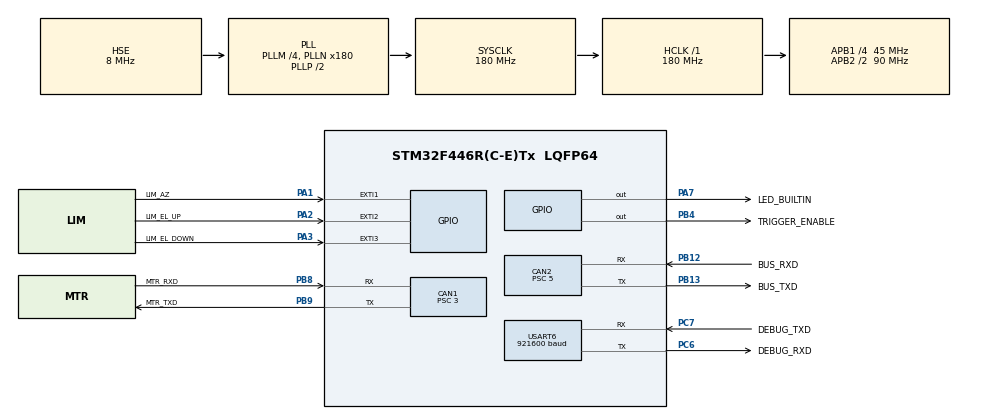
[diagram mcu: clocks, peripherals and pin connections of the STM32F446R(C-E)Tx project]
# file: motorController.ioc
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CAN1.BS1=CAN_BS1_12TQ
CAN1.BS2=CAN_BS2_2TQ
CAN1.CalculateBaudRate=1000000
CAN1.CalculateTimeBit=999.99
CAN1.CalculateTimeQuantum=66.66666666666666
CAN1.Prescaler=3
CAN2.BS1=CAN_BS1_15TQ
CAN2.BS2=CAN_BS2_2TQ
CAN2.CalculateBaudRate=500000
CAN2.CalculateTimeBit=1999.99
CAN2.CalculateTimeQuantum=111.11111111111111
CAN2.Prescaler=5
IWDG.Prescaler=IWDG_PRESCALER_128
IWDG.Reload=250
Mcu.Family=STM32F4
Mcu.Name=STM32F446R(C-E)Tx
Mcu.Package=LQFP64
Mcu.UserConstants=LED_PWM_MAX_VAL,1000;LED_PWM_MIN_VAL,0
NVIC.CAN1_RX0_IRQn=true\:7\:0\:true\:false\:true\:true\:true
NVIC.CAN1_TX_IRQn=true\:6\:0\:true\:false\:true\:true\:true
NVIC.CAN2_RX0_IRQn=true\:10\:0\:true\:false\:true\:true\:true
NVIC.CAN2_RX1_IRQn=true\:11\:0\:true\:false\:true\:true\:true
NVIC.CAN2_TX_IRQn=true\:9\:0\:true\:false\:true\:true\:true
NVIC.PriorityGroup=NVIC_PRIORITYGROUP_4
NVIC.USART6_IRQn=true\:15\:0\:true\:false\:false\:true\:false
PA1.GPIO_Label=LIM_AZ
PA1.GPIO_ModeDefaultEXTI=GPIO_MODE_IT_FALLING
PA1.GPIO_PuPd=GPIO_PULLUP
PA1.Signal=GPXTI1
PA13.GPIO_Label=TMS
PA13.Mode=Serial_Wire
PA13.Signal=SYS_JTMS-SWDIO
PA14.GPIO_Label=TCK
PA14.Mode=Serial_Wire
PA14.Signal=SYS_JTCK-SWCLK
PA2.GPIO_Label=LIM_EL_UP
PA2.GPIO_ModeDefaultEXTI=GPIO_MODE_IT_FALLING
PA2.GPIO_PuPd=GPIO_PULLUP
PA2.Signal=GPXTI2
PA3.GPIO_Label=LIM_EL_DOWN
PA3.GPIO_ModeDefaultEXTI=GPIO_MODE_IT_FALLING
PA3.GPIO_PuPd=GPIO_PULLUP
PA3.Signal=GPXTI3
PA7.GPIO_Label=LED_BUILTIN
PA7.GPIO_Speed=GPIO_SPEED_FREQ_HIGH
PA7.PinState=GPIO_PIN_SET
PA7.Signal=GPIO_Output
PB12.GPIO_Label=BUS_RXD
PB12.Mode=CAN_Activate
PB12.Signal=CAN2_RX
PB13.GPIO_Label=BUS_TXD
PB13.Mode=CAN_Activate
PB13.Signal=CAN2_TX
PB4.GPIO_Label=TRIGGER_ENABLE
PB4.GPIO_PuPd=GPIO_PULLDOWN
PB4.GPIO_Speed=GPIO_SPEED_FREQ_HIGH
PB4.Signal=GPIO_Output
PB8.GPIO_Label=MTR_RXD
PB8.Mode=CAN_Activate
PB8.Signal=CAN1_RX
PB9.GPIO_Label=MTR_TXD
PB9.Mode=CAN_Activate
PB9.Signal=CAN1_TX
PC6.GPIO_Label=DEBUG_RXD
PC6.GPIO_PuPd=GPIO_PULLUP
PC6.Mode=Asynchronous
PC6.Signal=USART6_TX
PC7.GPIO_Label=DEBUG_TXD
PC7.GPIO_PuPd=GPIO_PULLUP
PC7.Mode=Asynchronous
PC7.Signal=USART6_RX
PH0-OSC_IN.Mode=HSE-External-Oscillator
PH0-OSC_IN.Signal=RCC_OSC_IN
PH1-OSC_OUT.Mode=HSE-External-Oscillator
PH1-OSC_OUT.Signal=RCC_OSC_OUT
ProjectManager.HeapSize=0x200
ProjectManager.StackSize=0x400
ProjectManager.TargetToolchain=TrueSTUDIO
RCC.48MHZClocksFreq_Value=84000000
RCC.AHBFreq_Value=180000000
RCC.APB1CLKDivider=RCC_HCLK_DIV4
RCC.APB1Freq_Value=45000000
RCC.APB1TimFreq_Value=90000000
RCC.APB2CLKDivider=RCC_HCLK_DIV2
RCC.APB2Freq_Value=90000000
RCC.APB2TimFreq_Value=180000000
RCC.CortexFreq_Value=180000000
RCC.FLatency-AdvancedSettings=FLASH_LATENCY_5
RCC.HCLKFreq_Value=180000000
RCC.HSE_VALUE=8000000
RCC.HSI_VALUE=16000000
RCC.PLLM=4
RCC.PLLN=180
RCC.PLLSourceVirtual=RCC_PLLSOURCE_HSE
RCC.SYSCLKFreq_VALUE=180000000
RCC.SYSCLKSource=RCC_SYSCLKSOURCE_PLLCLK
RCC.USBFreq_Value=180000000
RCC.VCOOutputFreq_Value=360000000
TIM3.Period=999
TIM3.Prescaler=89
USART6.BaudRate=921600
USART6.VirtualMode=VM_ASYNC
VP_IWDG_VS_IWDG.Mode=IWDG_Activate
VP_TIM3_VS_ClockSourceINT.Mode=Internal
board=NUCLEO-F446RE

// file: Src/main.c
/* USER CODE BEGIN Header */
/**
 ******************************************************************************
 * @file           : main.c
 * @brief          : Main program body
 ******************************************************************************
 * @attention
 *
 * <h2><center>&copy; Copyright (c) 2020 STMicroelectronics.
 * All rights reserved.</center></h2>
 *
 * This software component is licensed by ST under BSD 3-Clause license,
 * the "License"; You may not use this file except in compliance with the
 * License. You may obtain a copy of the License at:
 *                        opensource.org/licenses/BSD-3-Clause
 *
 ******************************************************************************
 */
/* USER CODE END Header */
#include "main.h"

/* USER CODE BEGIN Includes */
#include <stdlib.h>
#include <stdio.h>
#include <string.h>

#include "rwsCanID.h"
#include "stm_hal_serial.h"
#include "Ingenia_CanServoDriver.h"

/* USER CODE END Includes */

/* USER CODE BEGIN PTD */
typedef enum
{
	LIM_SWITCH_AZIMUTH_ZERO = 0,
	LIM_SWITCH_ELEVATION_UP,
	LIM_SWITCH_ELEVATION_DOWN
} LimitSwitchBit_e;

typedef enum
{
	MOVE_STAB_bit = 0,
	MOVE_TRACK_bit = 1
} MoveBit_e;

typedef enum
{
	MOVEMENT_MANUAL = 0,
	MOVEMENT_STABILIZE,
	MOVEMENT_TRACKING
} MovementState_e;

typedef union
{
	float f;
	uint32_t u32;
	int32_t i32;
	uint8_t b[4];
} Union_u;

typedef struct
{
	volatile uint32_t angleVelo[2];
	volatile uint32_t stabMode;
	volatile uint32_t manualCommand;
	volatile uint32_t stabCommand;
	volatile uint32_t trackCommand;
} CanRecvCounter_t;

/* USER CODE END PTD */

/* USER CODE BEGIN PD */
#define DEBUG					1

#if DEBUG==1
#	define DEBUG_MTR_POSVELO	0
#	define DEBUG_INGENIA_DRIVER	0
#	if DEBUG_INGENIA_DRIVER==1
#		define MTR_ID			0x20
#	endif	//if DEBUG_INGENIA_DRIVER==1
#endif	//if DEBUG==1

#define MTR_AZ_ENABLE			1
#define MTR_EL_ENABLE			1
#define MTR_COCK_ENABLE			0

#define MTR_AZ_ID				0x20
#define MTR_EL_ID				0x21
#define MTR_COCK_ID				0x22

#ifdef RING_BUFFER_SIZE
#define UART_BUFSIZE			RING_BUFFER_SIZE
#else
#define UART_BUFSIZE			256
#endif

#ifndef CAN_DATA_MAX
#define CAN_DATA_MAX		8
#endif

#define bitRead(value, bit) (((value) >> (bit)) & 0x01)
#define bitSet(value, bit) ((value) |= (1UL << (bit)))
#define bitClear(value, bit) ((value) &= ~(1UL << (bit)))
#define bitWrite(value, bit, bitvalue) (bitvalue ? bitSet(value, bit) : bitClear(value, bit))

#define MOTOR_MAX_SPEED			116500UL	//1750RPM
#define MOTOR_MAX_ACCEL			2500000UL

#define TPDO4_EVENT_TIMER_100HZ			10

#define MOTOR_UPDATE_TIMEOUT			10	//100HZ

/* USER CODE END PD */

CAN_HandleTypeDef hcan1;
CAN_HandleTypeDef hcan2;

IWDG_HandleTypeDef hiwdg;

TIM_HandleTypeDef htim3;

UART_HandleTypeDef huart6;

/* USER CODE BEGIN PV */
/* TODO Global Variables*/
uint16_t bufLen = 0;
char buf[UART_BUFSIZE];

#if DEBUG
Ring_Buffer_t tx6Buffer = { { 0 }, 0, 0 };
Ring_Buffer_t rx6Buffer = { { 0 }, 0, 0 };
TSerial debug = { &rx6Buffer, &tx6Buffer, &huart6 };
#endif	//if DEBUG

#if DEBUG==1
char vt100_home[10];
#define DEBUG_LINE_MAX		25
char vt100_lineX[DEBUG_LINE_MAX][16];
#endif	//if DEBUG==1

CAN_TxHeaderTypeDef can2TxHeader;
uint32_t can2TxMailBox;
uint8_t can2TxBuffer[8];
CAN_RxHeaderTypeDef can2RxHeader;
uint8_t can2RxBuffer[8];

CAN_TxHeaderTypeDef *busTxHeader;
uint32_t *busTxMailBox;
uint8_t *busTxBuffer;
CAN_RxHeaderTypeDef *busRxHeader;
uint8_t *busRxBuffer;

#if DEBUG_INGENIA_DRIVER==1
Servo_t mtr;
Servo_t dummy;
#endif	//if DEBUG_INGENIA_DRIVER==1

#if MTR_AZ_ENABLE==1
Servo_t mtrAzi;
#endif	//if MTR_AZ_ENABLE==1

#if MTR_EL_ENABLE==1
Servo_t mtrEle;
#endif	//if MTR_EL_ENABLE==1

#if MTR_COCK_ENABLE==1
servo_t mtrCock;
#endif	//if MTR_COCK_ENABLE==1

volatile uint8_t limitSwitch = 0;

int32_t manualCommand[2] = { 0, 0 };
int32_t stabCommand[2] = { 0, 0 };
int32_t trackCommand[2] = { 0, 0 };
int32_t *panCommand = &manualCommand[0], *tiltCommand = &manualCommand[1];
volatile bool cockStart = false;

typedef enum
{
	SERVO_PAN,
	SERVO_TILT
} EServoName;

typedef enum
{
	DIR_UP_RIGHT = false,
	DIR_DOWN_LEFT = true
} EServoDirection;

typedef struct
{
	EServoName name;
	volatile bool enable;
	Servo_t *servo;
	uint32_t prevSpeed;
	bool direction;
	float relPosition;
	float velo;
} TServoState;
TServoState pan;
TServoState tilt;

#define CAN_BUFSIZE							8
const uint32_t COMMAND_RECEIVE_TIMEOUT = 500;

typedef struct
{
	uint32_t id;
	volatile bool state;
	uint8_t data[8];
	uint8_t size;
	uint8_t online;
} TCanRecvBuffer;

typedef struct
{
	uint32_t id;
	uint8_t data[8];
	uint8_t size;
} TCanSendBuffer;

TCanRecvBuffer canRecvPanel = { CAN_ID_RWS_PNL_MTR, false, { 0 }, 8, 0 };
TCanRecvBuffer canRecvButton = { CAN_ID_RWS_BUTTON, false, { 0 }, 3, 0 };
TCanRecvBuffer canRecvMoveMode = { CAN_ID_RWS_PNL_STAB_MODE, false, { 0 }, 6, 0 };
TCanRecvBuffer canRecvStabCommand = { CAN_ID_RWS_STAB_MTR_STB, false, { 0 }, 8, 0 };
TCanRecvBuffer canRecvTrackCommand = { CAN_ID_RWS_STAB_MTR_TRK, false, { 0 }, 8, 0 };

TCanSendBuffer canSendMotor = { CAN_ID_RWS_MOTOR, { 0 }, 6 };
TCanSendBuffer canSendMotorAngle = { CAN_ID_RWS_MTR_STAB_ANGLE, { 0 }, 8 };
TCanSendBuffer canSendMotorSpeed = { CAN_ID_RWS_MTR_STAB_SPD, { 0 }, 8 };

#if DEBUG_MTR_POSVELO==1
volatile uint32_t countTPDO4 = 0;
#endif	//if DEBUG_MTR_POSVELO==1
CanRecvCounter_t crCounter = { { 0, 0 }, 0, 0, 0, 0 };
uint8_t moveState = MOVEMENT_MANUAL;

/* USER CODE END PV */

void SystemClock_Config(void);
static void MX_GPIO_Init(void);
static void MX_CAN1_Init(void);
static void MX_CAN2_Init(void);
static void MX_IWDG_Init(void);
static void MX_USART6_UART_Init(void);
static void MX_TIM3_Init(void);
/* USER CODE BEGIN PFP */
#if DEBUG_INGENIA_DRIVER==1
static void displayCanBuffer(CAN_Data_t *data);
static void debugMotor();
#endif	//if DEBUG_INGENIA_DRIVER==1

static HAL_StatusTypeDef motorInit();
static void motorStop(TServoState *motor);
static void motorSpeed(TServoState *motor, int32_t spd);
static void motorHandler();

static HAL_StatusTypeDef busInit();
static void manualCommandParsing();
static void stabCommandParsing();
static void trackCommandParsing();
static void busHandler(CAN_HandleTypeDef *bus);
static void busSendingHandler();
static void busExpirationHandler();
/* USER CODE END PFP */

int main(void)
{

	/* MCU Configuration--------------------------------------------------------*/

	/* Reset of all peripherals, Initializes the Flash interface and the Systick. */
	HAL_Init();

	/* Configure the system clock */
	SystemClock_Config();

	/* USER CODE BEGIN SysInit */
#if DEBUG==1
	sprintf(vt100_home, "\x1b[2J\x1b[H");
	unsigned char debugLine = 0;
	for ( debugLine = 0; debugLine < DEBUG_LINE_MAX; debugLine++ )
		sprintf(vt100_lineX[debugLine], "\x1b[%d;0H\x1b[2K", debugLine);
#endif	//if DEBUG==1
	/* USER CODE END SysInit */

	/* Initialize all configured peripherals */
	MX_GPIO_Init();
	MX_CAN1_Init();
	MX_CAN2_Init();
	MX_IWDG_Init();
	MX_USART6_UART_Init();
	MX_TIM3_Init();
	/* USER CODE BEGIN 2 */
	HAL_IWDG_Refresh(&hiwdg);

#if DEBUG==1
	serial_init(&debug);

	bufLen = sprintf(buf, "%sIngenia CAN library\r\n", vt100_home);
	serial_write_str(&debug, buf, bufLen);
#endif	//if DEBUG==1

#if DEBUG==1
	bufLen = sprintf(buf, "motor init...\r\n");
	serial_write_str(&debug, buf, bufLen);
#endif	//if DEBUG==1

	if (motorInit() != HAL_OK) {
		HAL_GPIO_WritePin(LED_BUILTIN_GPIO_Port, LED_BUILTIN_Pin, GPIO_PIN_RESET);
		while (1)
			;
	}
#if DEBUG==1
	bufLen = sprintf(buf, "done!\r\n");
	serial_write_str(&debug, buf, bufLen);

	bufLen = sprintf(buf, "bus init...");
	serial_write_str(&debug, buf, bufLen);
#endif	//if DEBUG==1

	if (busInit() != HAL_OK) {
		HAL_GPIO_WritePin(LED_BUILTIN_GPIO_Port, LED_BUILTIN_Pin, GPIO_PIN_RESET);
		while (1)
			;
	}

#if DEBUG==1
	bufLen = sprintf(buf, "done!\r\n");
	serial_write_str(&debug, buf, bufLen);
#endif	//if DEBUG==1

#if DEBUG_INGENIA_DRIVER==1
	debugMotor();
#endif	//if DEBUG_INGENIA_DRIVER==1

	/* USER CODE END 2 */

	/* Infinite loop */
	/* USER CODE BEGIN WHILE */
#if DEBUG_MTR_POSVELO==1
	uint32_t countTpdoTimer = 0;
	Union_u p, v;
#endif	//if DEBUG_INGENIA_DRIVER==1

#if DEBUG==1
	uint32_t dTimer = 0;
#endif	//if DEBUG==1

	while (1) {
		HAL_IWDG_Refresh(&hiwdg);
		/* USER CODE END WHILE */

		/* USER CODE BEGIN 3 */
		/* TODO BEGIN LOOP*/

		busExpirationHandler();
		motorHandler();
		busSendingHandler();

#if DEBUG==1
		if (HAL_GetTick() >= dTimer) {
			dTimer = HAL_GetTick() + 100;

			bufLen = sprintf(buf, "%s0x%02X st=%d;en=%d:%d\t%d:%d", vt100_lineX[8],
					canRecvMoveMode.data[0], moveState, pan.enable, tilt.enable, *panCommand,
					*tiltCommand);
			serial_write_str(&debug, buf, bufLen);
		}
#endif	//if DEBUG==1

#if DEBUG_MTR_POSVELO==1
		uint8_t _dataRpdo[8];
		if (HAL_GetTick() >= countTpdoTimer) {
			countTpdoTimer = HAL_GetTick() + 1000;

			bufLen = sprintf(buf, "%stpdo4= %d/s", vt100_lineX[11], countTPDO4);
			countTPDO4 = 0;
			serial_write_str(&debug, buf, bufLen);
		}

		if (serial_available(&debug)) {
			char c = serial_read(&debug);

			if (c == 'T') {
				bufLen = sprintf(buf, "%smotor enable\r\n", vt100_lineX[12]);
				serial_write_str(&debug, buf, bufLen);
				_dataRpdo[0] = 0xF;
				_dataRpdo[1] = 0;
				Ingenia_write_rpdo(tilt.servo, COB_RPDO1, _dataRpdo, 2);
			}
			if (c == 't') {
				bufLen = sprintf(buf, "%smotor disable\r\n", vt100_lineX[12]);
				serial_write_str(&debug, buf, bufLen);
				_dataRpdo[0] = 0x7;
				_dataRpdo[1] = 0;
				Ingenia_write_rpdo(tilt.servo, COB_RPDO1, _dataRpdo, 2);
			}
			else if (c == 's') {
				memset(_dataRpdo, 0, 8);
				v.u32 = 0x500;
				p.i32 = 4000;
				for ( int i = 0; i < 4; i++ ) {
					_dataRpdo[i] = v.b[i];
					_dataRpdo[i + 4] = p.b[i];
				}
				Ingenia_write_rpdo(tilt.servo, COB_RPDO2, _dataRpdo, 8);
				bufLen = sprintf(buf, "%sSet new V:0x500 P:4000c", vt100_lineX[12]);
				serial_write_str(&debug, buf, bufLen);
			}
			else if (c == '>') {
				p.i32 = tilt.servo->posActual + 4000;
				Ingenia_setTargetPositionVelocity(tilt.servo, p.i32, 0x500, 1, 0, 0);
				bufLen = sprintf(buf, "%sto %dc w/ 500c/s", vt100_lineX[12], p.i32);
				serial_write_str(&debug, buf, bufLen);
			}
			else if (c == '<') {
				p.i32 = tilt.servo->posActual - 4000;
				Ingenia_setTargetPositionVelocity(tilt.servo, p.i32, 0x500, 1, 0, 0);
				bufLen = sprintf(buf, "%sto %dc w/ 500c/s", vt100_lineX[12], p.i32);
				serial_write_str(&debug, buf, bufLen);
			}
			else if (c == '0') {
				Ingenia_setTargetPositionVelocity(tilt.servo, 0, 0, 1, 0, 1);
				bufLen = sprintf(buf, "%sMotor Stop!", vt100_lineX[12], p.i32);
				serial_write_str(&debug, buf, bufLen);
			}

		}
#endif	//if DEBUG_MTR_POSVELO==1

		/* TODO END LOOP*/
	}	//while(1){
	/* USER CODE END 3 */
}

void SystemClock_Config(void)
{
	RCC_OscInitTypeDef RCC_OscInitStruct = { 0 };
	RCC_ClkInitTypeDef RCC_ClkInitStruct = { 0 };

	/** Configure the main internal regulator output voltage
	 */
	__HAL_RCC_PWR_CLK_ENABLE()
	;
	__HAL_PWR_VOLTAGESCALING_CONFIG(PWR_REGULATOR_VOLTAGE_SCALE1);
	/** Initializes the RCC Oscillators according to the specified parameters
	 * in the RCC_OscInitTypeDef structure.
	 */
	RCC_OscInitStruct.OscillatorType = RCC_OSCILLATORTYPE_LSI | RCC_OSCILLATORTYPE_HSE;
	RCC_OscInitStruct.HSEState = RCC_HSE_ON;
	RCC_OscInitStruct.LSIState = RCC_LSI_ON;
	RCC_OscInitStruct.PLL.PLLState = RCC_PLL_ON;
	RCC_OscInitStruct.PLL.PLLSource = RCC_PLLSOURCE_HSE;
	RCC_OscInitStruct.PLL.PLLM = 4;
	RCC_OscInitStruct.PLL.PLLN = 180;
	RCC_OscInitStruct.PLL.PLLP = RCC_PLLP_DIV2;
	RCC_OscInitStruct.PLL.PLLQ = 2;
	RCC_OscInitStruct.PLL.PLLR = 2;
	if (HAL_RCC_OscConfig(&RCC_OscInitStruct) != HAL_OK) {
		Error_Handler();
	}
	/** Activate the Over-Drive mode
	 */
	if (HAL_PWREx_EnableOverDrive() != HAL_OK) {
		Error_Handler();
	}
	/** Initializes the CPU, AHB and APB buses clocks
	 */
	RCC_ClkInitStruct.ClockType = RCC_CLOCKTYPE_HCLK | RCC_CLOCKTYPE_SYSCLK | RCC_CLOCKTYPE_PCLK1
			| RCC_CLOCKTYPE_PCLK2;
	RCC_ClkInitStruct.SYSCLKSource = RCC_SYSCLKSOURCE_PLLCLK;
	RCC_ClkInitStruct.AHBCLKDivider = RCC_SYSCLK_DIV1;
	RCC_ClkInitStruct.APB1CLKDivider = RCC_HCLK_DIV4;
	RCC_ClkInitStruct.APB2CLKDivider = RCC_HCLK_DIV2;

	if (HAL_RCC_ClockConfig(&RCC_ClkInitStruct, FLASH_LATENCY_5) != HAL_OK) {
		Error_Handler();
	}
}

static void MX_CAN1_Init(void)
{

	hcan1.Instance = CAN1;
	hcan1.Init.Prescaler = 3;
	hcan1.Init.Mode = CAN_MODE_NORMAL;
	hcan1.Init.SyncJumpWidth = CAN_SJW_1TQ;
	hcan1.Init.TimeSeg1 = CAN_BS1_12TQ;
	hcan1.Init.TimeSeg2 = CAN_BS2_2TQ;
	hcan1.Init.TimeTriggeredMode = DISABLE;
	hcan1.Init.AutoBusOff = DISABLE;
	hcan1.Init.AutoWakeUp = DISABLE;
	hcan1.Init.AutoRetransmission = DISABLE;
	hcan1.Init.ReceiveFifoLocked = DISABLE;
	hcan1.Init.TransmitFifoPriority = DISABLE;
	if (HAL_CAN_Init(&hcan1) != HAL_OK) {
		Error_Handler();
	}

}

static void MX_CAN2_Init(void)
{

	hcan2.Instance = CAN2;
	hcan2.Init.Prescaler = 5;
	hcan2.Init.Mode = CAN_MODE_NORMAL;
	hcan2.Init.SyncJumpWidth = CAN_SJW_1TQ;
	hcan2.Init.TimeSeg1 = CAN_BS1_15TQ;
	hcan2.Init.TimeSeg2 = CAN_BS2_2TQ;
	hcan2.Init.TimeTriggeredMode = DISABLE;
	hcan2.Init.AutoBusOff = DISABLE;
	hcan2.Init.AutoWakeUp = DISABLE;
	hcan2.Init.AutoRetransmission = DISABLE;
	hcan2.Init.ReceiveFifoLocked = DISABLE;
	hcan2.Init.TransmitFifoPriority = DISABLE;
	if (HAL_CAN_Init(&hcan2) != HAL_OK) {
		Error_Handler();
	}

}

static void MX_IWDG_Init(void)
{

	hiwdg.Instance = IWDG;
	hiwdg.Init.Prescaler = IWDG_PRESCALER_128;
	hiwdg.Init.Reload = 250;
	if (HAL_IWDG_Init(&hiwdg) != HAL_OK) {
		Error_Handler();
	}

}

static void MX_TIM3_Init(void)
{

	TIM_ClockConfigTypeDef sClockSourceConfig = { 0 };
	TIM_MasterConfigTypeDef sMasterConfig = { 0 };

	htim3.Instance = TIM3;
	htim3.Init.Prescaler = 89;
	htim3.Init.CounterMode = TIM_COUNTERMODE_UP;
	htim3.Init.Period = 999;
	htim3.Init.ClockDivision = TIM_CLOCKDIVISION_DIV1;
	htim3.Init.AutoReloadPreload = TIM_AUTORELOAD_PRELOAD_DISABLE;
	if (HAL_TIM_Base_Init(&htim3) != HAL_OK) {
		Error_Handler();
	}
	sClockSourceConfig.ClockSource = TIM_CLOCKSOURCE_INTERNAL;
	if (HAL_TIM_ConfigClockSource(&htim3, &sClockSourceConfig) != HAL_OK) {
		Error_Handler();
	}
	sMasterConfig.MasterOutputTrigger = TIM_TRGO_RESET;
	sMasterConfig.MasterSlaveMode = TIM_MASTERSLAVEMODE_DISABLE;
	if (HAL_TIMEx_MasterConfigSynchronization(&htim3, &sMasterConfig) != HAL_OK) {
		Error_Handler();
	}

}

static void MX_USART6_UART_Init(void)
{

	huart6.Instance = USART6;
	huart6.Init.BaudRate = 921600;
	huart6.Init.WordLength = UART_WORDLENGTH_8B;
	huart6.Init.StopBits = UART_STOPBITS_1;
	huart6.Init.Parity = UART_PARITY_NONE;
	huart6.Init.Mode = UART_MODE_TX_RX;
	huart6.Init.HwFlowCtl = UART_HWCONTROL_NONE;
	huart6.Init.OverSampling = UART_OVERSAMPLING_16;
	if (HAL_UART_Init(&huart6) != HAL_OK) {
		Error_Handler();
	}

}

static void MX_GPIO_Init(void)
{
	GPIO_InitTypeDef GPIO_InitStruct = { 0 };

	/* GPIO Ports Clock Enable */
	__HAL_RCC_GPIOC_CLK_ENABLE()
	;
	__HAL_RCC_GPIOH_CLK_ENABLE()
	;
	__HAL_RCC_GPIOA_CLK_ENABLE()
	;
	__HAL_RCC_GPIOB_CLK_ENABLE()
	;
	__HAL_RCC_GPIOD_CLK_ENABLE()
	;

	/*Configure GPIO pin Output Level */
	HAL_GPIO_WritePin(LED_BUILTIN_GPIO_Port, LED_BUILTIN_Pin, GPIO_PIN_SET);

	/*Configure GPIO pin Output Level */
	HAL_GPIO_WritePin(TRIGGER_ENABLE_GPIO_Port, TRIGGER_ENABLE_Pin, GPIO_PIN_RESET);

	/*Configure GPIO pins : PC13 PC14 PC15 PC0
	 PC1 PC2 PC3 PC4
	 PC5 PC8 PC9 PC10
	 PC11 PC12 */
	GPIO_InitStruct.Pin = GPIO_PIN_13 | GPIO_PIN_14 | GPIO_PIN_15 | GPIO_PIN_0 | GPIO_PIN_1
			| GPIO_PIN_2 | GPIO_PIN_3 | GPIO_PIN_4 | GPIO_PIN_5 | GPIO_PIN_8 | GPIO_PIN_9
			| GPIO_PIN_10 | GPIO_PIN_11 | GPIO_PIN_12;
	GPIO_InitStruct.Mode = GPIO_MODE_ANALOG;
	GPIO_InitStruct.Pull = GPIO_NOPULL;
	HAL_GPIO_Init(GPIOC, &GPIO_InitStruct);

	/*Configure GPIO pins : PA0 PA4 PA5 PA6
	 PA8 PA9 PA10 PA11
	 PA12 PA15 */
	GPIO_InitStruct.Pin = GPIO_PIN_0 | GPIO_PIN_4 | GPIO_PIN_5 | GPIO_PIN_6 | GPIO_PIN_8
			| GPIO_PIN_9 | GPIO_PIN_10 | GPIO_PIN_11 | GPIO_PIN_12 | GPIO_PIN_15;
	GPIO_InitStruct.Mode = GPIO_MODE_ANALOG;
	GPIO_InitStruct.Pull = GPIO_NOPULL;
	HAL_GPIO_Init(GPIOA, &GPIO_InitStruct);

	/*Configure GPIO pins : LIM_AZ_Pin LIM_EL_UP_Pin LIM_EL_DOWN_Pin */
	GPIO_InitStruct.Pin = LIM_AZ_Pin | LIM_EL_UP_Pin | LIM_EL_DOWN_Pin;
	GPIO_InitStruct.Mode = GPIO_MODE_IT_FALLING;
	GPIO_InitStruct.Pull = GPIO_PULLUP;
	HAL_GPIO_Init(GPIOA, &GPIO_InitStruct);

	/*Configure GPIO pin : LED_BUILTIN_Pin */
	GPIO_InitStruct.Pin = LED_BUILTIN_Pin;
	GPIO_InitStruct.Mode = GPIO_MODE_OUTPUT_PP;
	GPIO_InitStruct.Pull = GPIO_NOPULL;
	GPIO_InitStruct.Speed = GPIO_SPEED_FREQ_HIGH;
	HAL_GPIO_Init(LED_BUILTIN_GPIO_Port, &GPIO_InitStruct);

	/*Configure GPIO pins : PB0 PB1 PB2 PB10
	 PB14 PB15 PB3 PB5
	 PB6 PB7 */
	GPIO_InitStruct.Pin = GPIO_PIN_0 | GPIO_PIN_1 | GPIO_PIN_2 | GPIO_PIN_10 | GPIO_PIN_14
			| GPIO_PIN_15 | GPIO_PIN_3 | GPIO_PIN_5 | GPIO_PIN_6 | GPIO_PIN_7;
	GPIO_InitStruct.Mode = GPIO_MODE_ANALOG;
	GPIO_InitStruct.Pull = GPIO_NOPULL;
	HAL_GPIO_Init(GPIOB, &GPIO_InitStruct);

	/*Configure GPIO pin : PD2 */
	GPIO_InitStruct.Pin = GPIO_PIN_2;
	GPIO_InitStruct.Mode = GPIO_MODE_ANALOG;
	GPIO_InitStruct.Pull = GPIO_NOPULL;
	HAL_GPIO_Init(GPIOD, &GPIO_InitStruct);

	/*Configure GPIO pin : TRIGGER_ENABLE_Pin */
	GPIO_InitStruct.Pin = TRIGGER_ENABLE_Pin;
	GPIO_InitStruct.Mode = GPIO_MODE_OUTPUT_PP;
	GPIO_InitStruct.Pull = GPIO_PULLDOWN;
	GPIO_InitStruct.Speed = GPIO_SPEED_FREQ_HIGH;
	HAL_GPIO_Init(TRIGGER_ENABLE_GPIO_Port, &GPIO_InitStruct);

}

/* USER CODE BEGIN 4 */
/* TODO Begin of Functions Declaration*/
#if DEBUG==1
void USART6_IRQHandler(void)
{
	USARTx_IRQHandler(&debug);
}
#endif	//if DEBUG==1

void EXTI1_IRQHandler(void)
{
	/* limit azimuth zero active */
	SET_BIT(limitSwitch, (1 << LIM_SWITCH_AZIMUTH_ZERO));
}

void EXTI2_IRQHandler(void)
{
	/* limit elevation UP active */
	SET_BIT(limitSwitch, (1 << LIM_SWITCH_ELEVATION_UP));

	/* check elevation's direction */
	/* stop when direction is UP */
}

void EXTI3_IRQHandler(void)
{
	/* limit elevation DOWN active */
	SET_BIT(limitSwitch, (1 << LIM_SWITCH_ELEVATION_DOWN));

	/* check elevation's direction */
	/* stop when direction is UP */
}

static void initMovementState()
{
	manualCommand[0] = manualCommand[1] = 0;
	stabCommand[0] = stabCommand[1] = 0;
	trackCommand[0] = trackCommand[1] = 0;

	if (moveState == MOVEMENT_STABILIZE) {
		panCommand = &stabCommand[0];
		tiltCommand = &stabCommand[1];
	}
	else if (moveState == MOVEMENT_TRACKING) {
		panCommand = &trackCommand[0];
		tiltCommand = &trackCommand[1];
	}
	else {
		panCommand = &manualCommand[0];
		tiltCommand = &manualCommand[1];
	}
}

static void busExpirationHandler()
{
	static uint32_t buttonCommandTimeout = 0;
	static uint32_t movementModeTimeout = 0;
	uint8_t mStateTemp;

	/* check TRIGGER command */
	if (HAL_GetTick() >= buttonCommandTimeout) {
		HAL_GPIO_WritePin(TRIGGER_ENABLE_GPIO_Port, TRIGGER_ENABLE_Pin, GPIO_PIN_RESET);
		canRecvButton.online = false;
	}

	if (canRecvButton.state) {
		canRecvButton.state = false;
		buttonCommandTimeout = HAL_GetTick() + COMMAND_RECEIVE_TIMEOUT;
		canRecvButton.online = true;

		HAL_GPIO_WritePin(TRIGGER_ENABLE_GPIO_Port, TRIGGER_ENABLE_Pin,
				bitRead(canRecvButton.data[0], 0));

		cockStart = bitRead(canRecvButton.data[0], 1);
	}

	/* check stab command */
	if (HAL_GetTick() >= movementModeTimeout && canRecvPanel.online) {
		canRecvPanel.online = false;
	}

	if (canRecvPanel.state) {
		canRecvPanel.state = false;
		if (moveState == MOVEMENT_MANUAL) {
			movementModeTimeout = HAL_GetTick() + COMMAND_RECEIVE_TIMEOUT;
			canRecvPanel.online = true;

			manualCommandParsing();
		}
		else
			manualCommand[0] = manualCommand[1] = 0;
	}

	/* check stab command */
	if (HAL_GetTick() >= movementModeTimeout && canRecvStabCommand.online) {
		canRecvStabCommand.online = false;
	}

	if (canRecvStabCommand.state) {
		canRecvStabCommand.state = false;
		if (moveState == MOVEMENT_STABILIZE) {
			movementModeTimeout = HAL_GetTick() + COMMAND_RECEIVE_TIMEOUT;
			canRecvStabCommand.online = true;

			stabCommandParsing();
		}
		else
			stabCommand[0] = stabCommand[1] = 0;
	}

	/* check track command */
	if (HAL_GetTick() >= movementModeTimeout && canRecvTrackCommand.online) {
		canRecvTrackCommand.online = false;
	}

	if (canRecvTrackCommand.state) {
		canRecvTrackCommand.state = false;
		if (moveState == MOVEMENT_TRACKING) {
			movementModeTimeout = HAL_GetTick() + COMMAND_RECEIVE_TIMEOUT;
			canRecvTrackCommand.online = true;

			trackCommandParsing();
		}
		else
			trackCommand[0] = trackCommand[1] = 0;
	}

	if (canRecvMoveMode.online) {
		/* check movement mode command (from panel) */
		if (HAL_GetTick() >= movementModeTimeout) {
			HAL_GPIO_WritePin(LED_BUILTIN_GPIO_Port, LED_BUILTIN_Pin, GPIO_PIN_RESET);
			canRecvMoveMode.online = false;
		}

		/* check motor enable command */
		pan.enable = tilt.enable = bitRead(canRecvMoveMode.data[0], 7);

		if (moveState == MOVEMENT_STABILIZE) {
			if (!canRecvStabCommand.online)
				pan.enable = tilt.enable = false;
		}
		else if (moveState == MOVEMENT_TRACKING) {
			if (!canRecvTrackCommand.online)
				pan.enable = tilt.enable = false;
		}
	}
	else {
		pan.enable = false;
		tilt.enable = false;
	}

	if (canRecvMoveMode.state) {
		canRecvMoveMode.state = false;
		movementModeTimeout = HAL_GetTick() + COMMAND_RECEIVE_TIMEOUT;
		canRecvMoveMode.online = true;

		if (bitRead(canRecvMoveMode.data[0], MOVE_TRACK_bit))
			mStateTemp = MOVEMENT_TRACKING;
		else if (bitRead(canRecvMoveMode.data[0], MOVE_STAB_bit))
			mStateTemp = MOVEMENT_STABILIZE;
		else
			mStateTemp = MOVEMENT_MANUAL;

		if (moveState != mStateTemp) {
			moveState = mStateTemp;
			initMovementState();
		}

		HAL_GPIO_TogglePin(LED_BUILTIN_GPIO_Port, LED_BUILTIN_Pin);
	}

}

static void busSendingHandler()
{
	static uint32_t _stateTimer = 1000;
	static uint32_t _angleTimer = 1000;
	static uint32_t _angularSpeedTimer = 1000;
	static uint32_t sumAngleVeloTimer = 0;

	if (HAL_GetTick() >= sumAngleVeloTimer) {
		sumAngleVeloTimer = HAL_GetTick() + 1000;

		canSendMotor.data[2] = crCounter.angleVelo[0] & 0xFF;
		canSendMotor.data[3] = (crCounter.angleVelo[0] >> 8) & 0xFF;
		canSendMotor.data[4] = crCounter.angleVelo[1] & 0xFF;
		canSendMotor.data[5] = (crCounter.angleVelo[1] >> 8) & 0xFF;

		bufLen = sprintf(buf, "%sMval=%d\t\tM(p:t)=%d:%d", vt100_lineX[14],
				(int) crCounter.manualCommand, (int) manualCommand[0], (int) manualCommand[1]);
		serial_write_str(&debug, buf, bufLen);

		bufLen = sprintf(buf, "%sSmode:Sval=%d:%d\tS(p:t)=%d:%d", vt100_lineX[15],
				(int) crCounter.stabMode, (int) crCounter.stabCommand, (int) stabCommand[0],
				(int) stabCommand[1]);
		serial_write_str(&debug, buf, bufLen);

		bufLen = sprintf(buf, "%sTval=%d\tT(p:t)=%d:%d", vt100_lineX[16],
				(int) crCounter.trackCommand, (int) trackCommand[0], (int) trackCommand[1]);
		serial_write_str(&debug, buf, bufLen);

		crCounter.angleVelo[0] = crCounter.angleVelo[1] = 0;
		crCounter.stabMode = crCounter.stabCommand = 0;
	}

	if (HAL_GetTick() >= _stateTimer) {
		_stateTimer = HAL_GetTick() + 100;

		bitWrite(canSendMotor.data[1], 0,
				HAL_GPIO_ReadPin(TRIGGER_ENABLE_GPIO_Port, TRIGGER_ENABLE_Pin));
		bitWrite(canSendMotor.data[1], 1, cockStart);

		busTxHeader->StdId = canSendMotor.id;
		memcpy(busTxBuffer, canSendMotor.data, canSendMotor.size);
		busTxHeader->DLC = canSendMotor.size;
		if (HAL_CAN_AddTxMessage(&hcan2, busTxHeader, busTxBuffer, busTxMailBox) != HAL_OK)
			_stateTimer = HAL_GetTick() + 10;

#if DEBUG==1
		Union_u u, w;

		u.f = C_TO_DEG_AZ(pan.servo->posActual);
		w.f = C_TO_DEG_AZ(pan.servo->veloActual);
		bufLen = sprintf(buf, "%sPAN: P= %d > %.3f\tV= %d > %.3f", vt100_lineX[9],
				(int) pan.servo->posActual, u.f, (int) pan.servo->veloActual, w.f);
		serial_write_str(&debug, buf, bufLen);

		u.f = C_TO_DEG_EL(tilt.servo->posActual);
		w.f = C_TO_DEG_EL(tilt.servo->veloActual);
		bufLen = sprintf(buf, "%sTILT: P= %d > %.3f\tV= %d > %.3f", vt100_lineX[10],
				(int) tilt.servo->posActual, u.f, (int) tilt.servo->veloActual, w.f);
		serial_write_str(&debug, buf, bufLen);
#endif	//if DEBUG==1

	}

	if (HAL_GetTick() >= _angleTimer) {
		_angleTimer = HAL_GetTick() + TPDO4_EVENT_TIMER_100HZ;

		Union_u pAz, pEl;
#if MTR_AZ_ENABLE==1
		pAz.f = pan.relPosition;
#else
		pAz.f = 0.0f;
#endif	//if MTR_AZ_ENABLE==1

#if MTR_EL_ENABLE==1
		pEl.f = tilt.relPosition;
#else
		pEl.f = 0.0f;
#endif	//if MTR_EL_ENABLE==1

		for ( int i = 0; i < 4; i++ ) {
			canSendMotorAngle.data[i] = pAz.b[i];
			canSendMotorAngle.data[i + 4] = pEl.b[i];
		}

		busTxHeader->StdId = canSendMotorAngle.id;
		memcpy(busTxBuffer, canSendMotorAngle.data, canSendMotorAngle.size);
		busTxHeader->DLC = canSendMotorAngle.size;
		if (HAL_CAN_AddTxMessage(&hcan2, busTxHeader, busTxBuffer, busTxMailBox) != HAL_OK)
			_angleTimer = HAL_GetTick() + 1;
	}

	if (HAL_GetTick() >= _angularSpeedTimer) {
		_angularSpeedTimer = HAL_GetTick() + TPDO4_EVENT_TIMER_100HZ;

		Union_u vAz, vEl;
#if MTR_AZ_ENABLE==1
		vAz.f = pan.velo;
#else
		vAz.f = 0.0f;
#endif	//if MTR_AZ_ENABLE==1

#if MTR_EL_ENABLE==1
		vEl.f = tilt.velo;
#else
		vEl.f = 0.0f;
#endif	//if MTR_EL_ENABLE==1

		for ( int i = 0; i < 4; i++ ) {
			canSendMotorSpeed.data[i] = vAz.b[i];
			canSendMotorSpeed.data[i + 4] = vEl.b[i];
		}

		busTxHeader->StdId = canSendMotorSpeed.id;
		memcpy(busTxBuffer, canSendMotorSpeed.data, canSendMotorSpeed.size);
		busTxHeader->DLC = canSendMotorSpeed.size;
		if (HAL_CAN_AddTxMessage(&hcan2, busTxHeader, busTxBuffer, busTxMailBox) != HAL_OK)
			_angleTimer = HAL_GetTick() + 1;
	}
}

static void trackCommandParsing()
{
	Union_u p, t;
	uint8_t dataPT[8];

	memcpy(dataPT, canRecvTrackCommand.data, canRecvTrackCommand.size);

	/* find angular velocity request from stabilize module */
	for ( int i = 0; i < 4; i++ ) {
		p.b[i] = dataPT[i];
		t.b[i] = dataPT[i + 4];
	}

	/* convert from deg/s to c/s */
	trackCommand[0] = (int32_t) DEG_TO_C_AZ(p.f);
	if (abs(trackCommand[0]) > MOTOR_MAX_SPEED) {
		if (trackCommand[0] >= 0)
			trackCommand[0] = MOTOR_MAX_SPEED;
		else
			trackCommand[0] = 0 - MOTOR_MAX_SPEED;
	}
	trackCommand[1] = (int32_t) DEG_TO_C_EL(t.f);
	if (abs(trackCommand[1]) > MOTOR_MAX_SPEED) {
		if (trackCommand[1] >= 0)
			trackCommand[1] = MOTOR_MAX_SPEED;
		else
			trackCommand[1] = 0 - MOTOR_MAX_SPEED;
	}
}

static void stabCommandParsing()
{
	Union_u p, t;
	uint8_t dataPT[8];

	memcpy(dataPT, canRecvStabCommand.data, canRecvStabCommand.size);

	/* find angular velocity request from stabilize module */
	for ( int i = 0; i < 4; i++ ) {
		p.b[i] = dataPT[i];
		t.b[i] = dataPT[i + 4];
	}

	/* convert from deg/s to c/s */
	stabCommand[0] = (int32_t) DEG_TO_C_AZ(p.f);
	if (abs(stabCommand[0]) > MOTOR_MAX_SPEED) {
		if (stabCommand[0] >= 0)
			stabCommand[0] = MOTOR_MAX_SPEED;
		else
			stabCommand[0] = 0 - MOTOR_MAX_SPEED;
	}
	stabCommand[1] = (int32_t) DEG_TO_C_EL(t.f);
	if (abs(stabCommand[1]) > MOTOR_MAX_SPEED) {
		if (stabCommand[1] >= 0)
			stabCommand[1] = MOTOR_MAX_SPEED;
		else
			stabCommand[1] = 0 - MOTOR_MAX_SPEED;
	}
}

static void manualCommandParsing()
{
	Union_u p, t;
	uint8_t dataPT[8];

	memcpy(dataPT, canRecvPanel.data, canRecvPanel.size);

	/* find angular velocity request from stabilize module */
	for ( int i = 0; i < 4; i++ ) {
		p.b[i] = dataPT[i];
		t.b[i] = dataPT[i + 4];
	}

	/* convert from deg/s to c/s */
	manualCommand[0] = (int32_t) DEG_TO_C_AZ(p.f);
	if (abs(manualCommand[0]) > MOTOR_MAX_SPEED) {
		if (manualCommand[0] >= 0)
			manualCommand[0] = MOTOR_MAX_SPEED;
		else
			manualCommand[0] = 0 - MOTOR_MAX_SPEED;
	}
	manualCommand[1] = (int32_t) DEG_TO_C_EL(t.f);
	if (abs(manualCommand[1]) > MOTOR_MAX_SPEED) {
		if (manualCommand[1] >= 0)
			manualCommand[1] = MOTOR_MAX_SPEED;
		else
			manualCommand[1] = 0 - MOTOR_MAX_SPEED;
	}
}

static void motorStop(TServoState *motor)
{
	Ingenia_setTargetPositionVelocity(motor->servo, 0, 0, 1, 0, 1);
}

static void motorSpeed(TServoState *motor, int32_t spd)
{
	int _pos = motor->servo->posActual;
	uint32_t _absSpd = abs(spd);

	if (spd == 0)
		motorStop(motor);
	else {
		if (spd < 0)
			_pos -= 50000;
		else
			_pos += 50000;

		Ingenia_setTargetPositionVelocity(motor->servo, _pos, _absSpd, 1, 0, 0);
	}

	motor->prevSpeed = spd;
}

static void motorHandler()
{
	static uint32_t motorUpdateTimer = 0;
	static uint8_t motorUpdateCounter = 0;

	/* ENABLE/DISABLE MOTOR */
#if MTR_AZ_ENABLE==1
	static _Bool panEnable = 1;

	if (panEnable != pan.enable) {
		if (pan.enable) {
			/* enable motor */
			Ingenia_enableMotor(pan.servo);
		}
		else {
			/* disable motor */
			Ingenia_disableMotor(pan.servo);
		}
		panEnable = pan.enable;
		bitWrite(canSendMotor.data[0], 0, panEnable);
	}
#endif	//if MTR_AZ_ENABLE==1

#if MTR_EL_ENABLE==1
	static _Bool tiltEnable = 1;

	if (tiltEnable != tilt.enable) {
		if (tilt.enable) {
			/* enable motor */
			Ingenia_enableMotor(tilt.servo);
		}
		else {
			/* disable motor */
			Ingenia_disableMotor(tilt.servo);
		}
		tiltEnable = tilt.enable;
		bitWrite(canSendMotor.data[0], 1, tiltEnable);
	}
#endif	//if MTR_EL_ENABLE==1

	/* send command to motor driver */

	if (HAL_GetTick() >= motorUpdateTimer) {
		motorUpdateTimer = HAL_GetTick() + (MOTOR_UPDATE_TIMEOUT / 2);

#if MTR_AZ_ENABLE==1
		if (panEnable && !bitRead(motorUpdateCounter, 0))
			motorSpeed(&pan, *panCommand);
#endif	//if MTR_AZ_ENABLE==1

#if MTR_EL_ENABLE==1
		if (tiltEnable && bitRead(motorUpdateCounter, 0))
			motorSpeed(&tilt, *tiltCommand);
#endif	//if MTR_EL_ENABLE==1

		motorUpdateCounter++;
	}
}

static void motorParamInit(Servo_t *servo)
{

	Ingenia_write_nmt(servo, NMT_START_REMOTE_NODE);

	/* set mode to profile position */
	Ingenia_setModeOfOperation(servo, DRIVE_MODE_PROFILE_POSITION);

	/* set max motor speed */
	Ingenia_write_sdo_u32(servo, 0x6080, 0, MOTOR_MAX_SPEED);
	/* set max velocity profile */
	Ingenia_write_sdo_u32(servo, 0x607F, 0, MOTOR_MAX_SPEED);
	/* set max profile acceleration */
	Ingenia_write_sdo_u32(servo, 0x6083, 0, MOTOR_MAX_ACCEL);
	/* set max profile de-acceleration */
	Ingenia_write_sdo_u32(servo, 0x6084, 0, MOTOR_MAX_ACCEL);
	/* set max profile quick stop de-acceleration */
	Ingenia_write_sdo_u32(servo, 0x6085, 0, 2 * MOTOR_MAX_ACCEL);
	/* set TPDO4 event timer */
	Ingenia_write_sdo_u16(servo, 0x1803, 5, TPDO4_EVENT_TIMER_100HZ);
}

static HAL_StatusTypeDef motorInit()
{
	HAL_StatusTypeDef ret = HAL_OK;
	Ingenia_begin(&hcan1);

#if DEBUG_INGENIA_DRIVER==1
	Ingenia_init(&mtr, 0x21);
	Ingenia_init(&dummy, 0x22);
	Ingenia_node_remove(&dummy);

	debugMotor();
#endif	//if DEBUG_INGENIA_DRIVER==1

#if MTR_AZ_ENABLE==1
	pan.name = SERVO_PAN;
	pan.enable = false;
	pan.direction = DIR_UP_RIGHT;
	pan.servo = &mtrAzi;
	pan.prevSpeed = 1;

	if (Ingenia_init(pan.servo, MTR_AZ_ID) != HAL_OK)
		return HAL_ERROR;

#if DEBUG==1
	bufLen = sprintf(buf, "enabling pan motor...");
	serial_write_str(&debug, buf, bufLen);
#endif	//if DEBUG==1

	motorParamInit(pan.servo);
	Ingenia_disableMotor(pan.servo);

#if DEBUG==1
	bufLen = sprintf(buf, "done!\r\n");
	serial_write_str(&debug, buf, bufLen);
#endif	//if DEBUG==1

#endif	//if MTR_AZ_ENABLE==1

#if MTR_EL_ENABLE==1
	tilt.name = SERVO_TILT;
	tilt.enable = false;
	tilt.direction = DIR_UP_RIGHT;
	tilt.servo = &mtrEle;
	tilt.prevSpeed = 1;

	if (Ingenia_init(tilt.servo, MTR_EL_ID) != HAL_OK)
		return HAL_ERROR;

#if DEBUG==1
	bufLen = sprintf(buf, "enabling tilt motor...");
	serial_write_str(&debug, buf, bufLen);
#endif	//if DEBUG==1

	motorParamInit(tilt.servo);
	Ingenia_disableMotor(tilt.servo);

#if DEBUG==1
	bufLen = sprintf(buf, "done!\r\n");
	serial_write_str(&debug, buf, bufLen);
#endif	//if DEBUG==1
#endif	//if MTR_EL_ENABLE==1

#if MTR_COCK_ENABLE==1
	Ingenia_init(cock.servo, MTR_COCK_ID);
#endif	//if MTR_COCK_ENABLE==1

	return ret;
}

static HAL_StatusTypeDef busInit()
{
	busTxHeader = &can2TxHeader;
	busTxMailBox = &can2TxMailBox;
	busTxBuffer = can2TxBuffer;
	busRxHeader = &can2RxHeader;
	busRxBuffer = can2RxBuffer;

	CAN_FilterTypeDef sFilterConfig;

	/*##-2- Configure the CAN Filter ###########################################*/

	sFilterConfig.FilterBank = 14;
	sFilterConfig.FilterMode = CAN_FILTERMODE_IDMASK;
	sFilterConfig.FilterScale = CAN_FILTERSCALE_32BIT;
	sFilterConfig.FilterIdHigh = (canRecvPanel.id << 5);
	sFilterConfig.FilterIdLow = 0;
	sFilterConfig.FilterMaskIdHigh = (canRecvPanel.id << 5);
	sFilterConfig.FilterMaskIdLow = 0;
	sFilterConfig.FilterFIFOAssignment = CAN_RX_FIFO1;
	sFilterConfig.FilterActivation = ENABLE;
	sFilterConfig.SlaveStartFilterBank = 14;

	if (HAL_CAN_ConfigFilter(&hcan2, &sFilterConfig) != HAL_OK) {
		/* filter configuration error */
		return HAL_ERROR;
	}

	sFilterConfig.FilterBank = 15;
	sFilterConfig.FilterMode = CAN_FILTERMODE_IDMASK;
	sFilterConfig.FilterScale = CAN_FILTERSCALE_32BIT;
	sFilterConfig.FilterIdHigh = (canRecvButton.id << 5);
	sFilterConfig.FilterIdLow = 0;
	sFilterConfig.FilterMaskIdHigh = (canRecvButton.id << 5);
	sFilterConfig.FilterMaskIdLow = 0;
	sFilterConfig.FilterFIFOAssignment = CAN_RX_FIFO1;
	sFilterConfig.FilterActivation = ENABLE;
	sFilterConfig.SlaveStartFilterBank = 14;

	if (HAL_CAN_ConfigFilter(&hcan2, &sFilterConfig) != HAL_OK) {
		/* filter configuration error */
		return HAL_ERROR;
	}

	sFilterConfig.FilterBank = 16;
	sFilterConfig.FilterMode = CAN_FILTERMODE_IDMASK;
	sFilterConfig.FilterScale = CAN_FILTERSCALE_32BIT;
	sFilterConfig.FilterIdHigh = (canRecvMoveMode.id << 5);
	sFilterConfig.FilterIdLow = 0;
	sFilterConfig.FilterMaskIdHigh = (canRecvMoveMode.id << 5);
	sFilterConfig.FilterMaskIdLow = 0;
	sFilterConfig.FilterFIFOAssignment = CAN_RX_FIFO1;
	sFilterConfig.FilterActivation = ENABLE;
	sFilterConfig.SlaveStartFilterBank = 14;

	if (HAL_CAN_ConfigFilter(&hcan2, &sFilterConfig) != HAL_OK) {
		/* filter configuration error */
		return HAL_ERROR;
	}

	sFilterConfig.FilterBank = 17;
	sFilterConfig.FilterMode = CAN_FILTERMODE_IDMASK;
	sFilterConfig.FilterScale = CAN_FILTERSCALE_32BIT;
	sFilterConfig.FilterIdHigh = (canRecvStabCommand.id << 5);
	sFilterConfig.FilterIdLow = 0;
	sFilterConfig.FilterMaskIdHigh = (canRecvStabCommand.id << 5);
	sFilterConfig.FilterMaskIdLow = 0;
	sFilterConfig.FilterFIFOAssignment = CAN_RX_FIFO1;
	sFilterConfig.FilterActivation = ENABLE;
	sFilterConfig.SlaveStartFilterBank = 14;

	if (HAL_CAN_ConfigFilter(&hcan2, &sFilterConfig) != HAL_OK) {
		/* filter configuration error */
		return HAL_ERROR;
	}

	sFilterConfig.FilterBank = 18;
	sFilterConfig.FilterMode = CAN_FILTERMODE_IDMASK;
	sFilterConfig.FilterScale = CAN_FILTERSCALE_32BIT;
	sFilterConfig.FilterIdHigh = (canRecvTrackCommand.id << 5);
	sFilterConfig.FilterIdLow = 0;
	sFilterConfig.FilterMaskIdHigh = (canRecvTrackCommand.id << 5);
	sFilterConfig.FilterMaskIdLow = 0;
	sFilterConfig.FilterFIFOAssignment = CAN_RX_FIFO1;
	sFilterConfig.FilterActivation = ENABLE;
	sFilterConfig.SlaveStartFilterBank = 14;

	if (HAL_CAN_ConfigFilter(&hcan2, &sFilterConfig) != HAL_OK) {
		/* filter configuration error */
		return HAL_ERROR;
	}

	/*##-3- Start the CAN peripheral ###########################################*/
	if (HAL_CAN_Start(&hcan2) != HAL_OK) {
		/* Start Error */
		return HAL_ERROR;
	}

	/*##-4- Activate CAN RX notification #######################################*/
	if (HAL_CAN_ActivateNotification(&hcan2, CAN_IT_RX_FIFO1_MSG_PENDING) != HAL_OK) {
		/* Notification Error */
		return HAL_ERROR;
	}

	/*##-5- Configure Transmission process #####################################*/
	busTxHeader->StdId = 0x1;
	busTxHeader->RTR = CAN_RTR_DATA;
	busTxHeader->IDE = CAN_ID_STD;
	busTxHeader->DLC = CAN_DATA_MAX;
	busTxHeader->TransmitGlobalTime = DISABLE;

	return HAL_OK;
}

static void busHandler(CAN_HandleTypeDef *bus)
{
	uint32_t _id = 0;

	if (HAL_CAN_GetRxMessage(bus, CAN_RX_FIFO1, busRxHeader, busRxBuffer) == HAL_OK) {
		_id = busRxHeader->StdId;
		if (_id == canRecvPanel.id) {
			canRecvPanel.state = true;
			memcpy(canRecvPanel.data, busRxBuffer, canRecvPanel.size);
			crCounter.manualCommand++;
		}
		else if (_id == canRecvButton.id) {
			canRecvButton.state = true;
			memcpy(canRecvButton.data, busRxBuffer, canRecvButton.size);
		}
		else if (_id == canRecvMoveMode.id) {
			canRecvMoveMode.state = true;
			memcpy(canRecvMoveMode.data, busRxBuffer, canRecvMoveMode.size);
			crCounter.stabMode++;
		}
		else if (_id == canRecvStabCommand.id) {
			canRecvStabCommand.state = true;
			memcpy(canRecvStabCommand.data, busRxBuffer, canRecvStabCommand.size);
			crCounter.stabCommand++;
		}
		else if (_id == canRecvTrackCommand.id) {
			canRecvTrackCommand.state = true;
			memcpy(canRecvTrackCommand.data, busRxBuffer, canRecvTrackCommand.size);
			crCounter.trackCommand++;
		}
	}
}

/**
 * @brief  Rx Fifo 1 message pending callback
 * @param  hcan: pointer to a CAN_HandleTypeDef structure that contains
 *         the configuration information for the specified CAN.
 * @retval None
 */
void HAL_CAN_RxFifo1MsgPendingCallback(CAN_HandleTypeDef *hcan)
{
	busHandler(hcan);
}

void Ingenia_tpdo_callback(CAN_Buffer_t *buffer)
{
	CAN_Data_t data;
	uint32_t idNode = 0;
	int _pos = 0, _velo = 0;

	if (can_buffer_available(buffer)) {
		can_buffer_read(buffer, &data);
#if DEBUG_MTR_POSVELO==1
		countTPDO4++;
#endif	//if DEBUG_MTR_POSVELO==1

		if ((data.canRxHeader.StdId & COB_TPDO4) == COB_TPDO4) {
			idNode = data.canRxHeader.StdId - COB_TPDO4;
			for ( int i = 0; i < 4; i++ ) {
				_pos |= (int) data.rxData[i] << (8 * i);
				_velo |= (int) data.rxData[i + 4] << (8 * i);
			}
#if MTR_AZ_ENABLE==1
			if (idNode == mtrAzi._u8Node) {
				pan.servo->posActual = _pos;
				pan.servo->veloActual = _velo;

				int32_t _tem = abs(_pos) % C_AZ_FULLSWING;
				if (_pos < 0)
					_tem = C_AZ_FULLSWING - _tem;
				pan.relPosition = C_TO_DEG_AZ(_tem);
				pan.velo = C_TO_DEG_AZ(_velo);

				crCounter.angleVelo[0]++;
			}
#endif	//if MTR_AZ_ENABLE==1

#if MTR_EL_ENABLE==1
			if (idNode == mtrEle._u8Node) {
				tilt.servo->posActual = _pos;
				tilt.servo->veloActual = _velo;

				tilt.relPosition = C_TO_DEG_EL(_pos);
				tilt.velo = C_TO_DEG_EL(_velo);

				crCounter.angleVelo[1]++;
			}
#endif	//if MTR_EL_ENABLE==1

		}
	}
}

/* USER CODE END 4 */

void Error_Handler(void)
{
}

/************************ (C) COPYRIGHT STMicroelectronics *****END OF FILE****/
